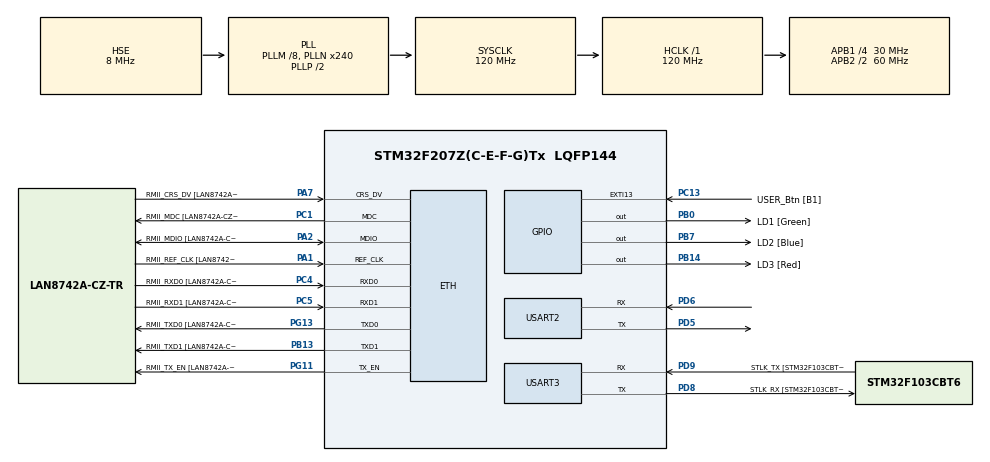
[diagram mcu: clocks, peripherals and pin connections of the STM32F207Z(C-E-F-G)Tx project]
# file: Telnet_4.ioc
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ETH.MediaInterface=ETH_MEDIA_INTERFACE_RMII
ETH.PhyAddress=0
FREERTOS.Tasks01=defaultTask,24,256,StartDefaultTask,Default,NULL,Dynamic,NULL,NULL
FREERTOS.configTOTAL_HEAP_SIZE=32000
LWIP.DEFAULT_THREAD_STACKSIZE=2048
LWIP.IP_ADDRESS=169.254.191.224
LWIP.LWIP_DHCP=0
LWIP.NETMASK_ADDRESS=255.255.255.000
LWIP.RTOS_USE_NEWLIB_REENTRANT=0
LWIP.Version=v2.0.3_Cube
Mcu.Family=STM32F2
Mcu.Name=STM32F207Z(C-E-F-G)Tx
Mcu.Package=LQFP144
NVIC.ETH_IRQn=true\:5\:0\:false\:false\:true\:true\:false\:true\:true
NVIC.PriorityGroup=NVIC_PRIORITYGROUP_4
NVIC.TIM4_IRQn=true\:15\:0\:false\:false\:true\:false\:false\:true\:true
NVIC.TimeBase=TIM4_IRQn
NVIC.TimeBaseIP=TIM4
NVIC.USART2_IRQn=true\:5\:0\:false\:false\:true\:true\:true\:true\:true
NVIC.USART3_IRQn=true\:5\:0\:false\:false\:true\:true\:true\:true\:true
PA1.GPIO_Label=RMII_REF_CLK [LAN8742A-CZ-TR_REFCLK0]
PA1.Mode=RMII
PA1.Signal=ETH_REF_CLK
PA13.GPIO_Label=TMS
PA13.Mode=Serial_Wire
PA13.Signal=SYS_JTMS-SWDIO
PA14.GPIO_Label=TCK
PA14.Mode=Serial_Wire
PA14.Signal=SYS_JTCK-SWCLK
PA2.GPIO_Label=RMII_MDIO [LAN8742A-CZ-TR_MDIO]
PA2.Mode=RMII
PA2.Signal=ETH_MDIO
PA7.GPIO_Label=RMII_CRS_DV [LAN8742A-CZ-TR_CRS_DV]
PA7.Mode=RMII
PA7.Signal=ETH_CRS_DV
PB0.GPIO_Label=LD1 [Green]
PB0.Signal=GPIO_Output
PB13.GPIO_Label=RMII_TXD1 [LAN8742A-CZ-TR_TXD1]
PB13.Mode=RMII
PB13.Signal=ETH_TXD1
PB14.GPIO_Label=LD3 [Red]
PB14.Signal=GPIO_Output
PB7.GPIO_Label=LD2 [Blue]
PB7.Signal=GPIO_Output
PC1.GPIO_Label=RMII_MDC [LAN8742A-CZ-TR_MDC]
PC1.Mode=RMII
PC1.Signal=ETH_MDC
PC13.GPIO_Label=USER_Btn [B1]
PC13.Signal=GPXTI13
PC4.GPIO_Label=RMII_RXD0 [LAN8742A-CZ-TR_RXD0]
PC4.Mode=RMII
PC4.Signal=ETH_RXD0
PC5.GPIO_Label=RMII_RXD1 [LAN8742A-CZ-TR_RXD1]
PC5.Mode=RMII
PC5.Signal=ETH_RXD1
PD5.Mode=Asynchronous
PD5.Signal=USART2_TX
PD6.Mode=Asynchronous
PD6.Signal=USART2_RX
PD8.GPIO_Label=STLK_RX [STM32F103CBT6_PA3]
PD8.Mode=Asynchronous
PD8.Signal=USART3_TX
PD9.GPIO_Label=STLK_TX [STM32F103CBT6_PA2]
PD9.Mode=Asynchronous
PD9.Signal=USART3_RX
PG11.GPIO_Label=RMII_TX_EN [LAN8742A-CZ-TR_TXEN]
PG11.Mode=RMII
PG11.Signal=ETH_TX_EN
PG13.GPIO_Label=RMII_TXD0 [LAN8742A-CZ-TR_TXD0]
PG13.Mode=RMII
PG13.Signal=ETH_TXD0
PH0-OSC_IN.GPIO_Label=MCO [STM32F103CBT6_PA8]
PH0-OSC_IN.Mode=HSE-External-Oscillator
PH0-OSC_IN.Signal=RCC_OSC_IN
PH1-OSC_OUT.Mode=HSE-External-Oscillator
PH1-OSC_OUT.Signal=RCC_OSC_OUT
ProjectManager.HeapSize=0x2000
ProjectManager.StackSize=0x4000
ProjectManager.TargetToolchain=Makefile
RCC.48MHZClocksFreq_Value=48000000
RCC.AHBFreq_Value=120000000
RCC.APB1CLKDivider=RCC_HCLK_DIV4
RCC.APB1Freq_Value=30000000
RCC.APB1TimFreq_Value=60000000
RCC.APB2CLKDivider=RCC_HCLK_DIV2
RCC.APB2Freq_Value=60000000
RCC.APB2TimFreq_Value=120000000
RCC.CortexFreq_Value=120000000
RCC.HCLKFreq_Value=120000000
RCC.HSE_VALUE=8000000
RCC.HSI_VALUE=16000000
RCC.LSE_VALUE=32768
RCC.PLLM=8
RCC.PLLMUL=RCC_PLL_MUL9
RCC.PLLN=240
RCC.PLLQ=5
RCC.PLLSourceVirtual=RCC_PLLSOURCE_HSE
RCC.PRESCALERUSB=RCC_USBCLKSOURCE_PLL_DIV1_5
RCC.SYSCLKFreq_VALUE=120000000
RCC.SYSCLKSource=RCC_SYSCLKSOURCE_PLLCLK
RCC.SYSCLKSourceVirtual=RCC_SYSCLKSOURCE_PLLCLK
RCC.USBFreq_Value=48000000
RCC.VCOOutputFreq_Value=240000000
USART2.VirtualMode=VM_ASYNC
USART3.VirtualMode=VM_ASYNC
VP_FREERTOS_VS_CMSIS_V2.Mode=CMSIS_V2
VP_LWIP_VS_Enabled.Mode=Enabled
VP_SYS_VS_tim4.Mode=TIM4
board=NUCLEO-F207ZG

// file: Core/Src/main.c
/* USER CODE BEGIN Header */
/**
  ******************************************************************************
  * @file           : main.c
  * @brief          : Main program body
  ******************************************************************************
  * @attention
  *
  * Copyright (c) 2023 STMicroelectronics.
  * All rights reserved.
  *
  * This software is licensed under terms that can be found in the LICENSE file
  * in the root directory of this software component.
  * If no LICENSE file comes with this software, it is provided AS-IS.
  *
  ******************************************************************************
  */
/* USER CODE END Header */
#include "main.h"
#include "cmsis_os.h"
#include "lwip.h"

/* USER CODE BEGIN Includes */
#include "telnet_server.h"
#include <string.h>
#include <stdio.h>
#include "api.h"
#include "mcli.h"
#include "slipif.h"

/* USER CODE END Includes */

/* USER CODE BEGIN PD */
#define SIZE_LOGIN 17
#define SIZE_COMM 4
/* USER CODE END PD */

UART_HandleTypeDef huart2;
UART_HandleTypeDef huart3;

/* Definitions for defaultTask */
osThreadId_t defaultTaskHandle;
const osThreadAttr_t defaultTask_attributes = {
  .name = "defaultTask",
  .stack_size = 256 * 4,
  .priority = (osPriority_t) osPriorityNormal,
};
/* USER CODE BEGIN PV */
uint8_t preBUFF = 0;
uint8_t preBUFF2 = 0;
extern struct netif slnetif;
/* USER CODE END PV */

void SystemClock_Config(void);
static void MX_GPIO_Init(void);
static void MX_USART3_UART_Init(void);
static void MX_USART2_UART_Init(void);
void StartDefaultTask(void *argument);

/* USER CODE BEGIN PFP */
/*---------------------------------------------------------------------------*/
/*Comand handlers*/
static int fun_cmd_main (int argc, char ** argv);
static int cmd_quit     (int argc, char ** argv);
static int cmd_help     (int argc, char ** argv);
static int cmd_mode_set (int argc, char ** argv);
static int cmd_temp     (int argc, char ** argv);
static int cmd_dist     (int argc, char ** argv);
static int cmd_cfg_set  (int argc, char ** argv);
static int cmd_cfg_get  (int argc, char ** argv);

//static err_t slipif_output(struct netif *netif, struct pbuf *p);

/*Command descriptors*/
mcli_cmd_st wo_cmd[] = {
    {
        .name = "led",
        .desc = "\"led a b\"\t a-number led(1,2,3or0-all)\tb-1(ON) or 0(OFF)",
        .cmain = fun_cmd_main
    },
    {
        .name = "help",
        .desc = "The command <help> prints other commands description.\r\n Call: help <COMMAND>",
        .cmain = cmd_help
    },
    {
        .name = "quit",
        .desc = "The <quit> halts debug console.",
        .cmain = cmd_quit
    },
    {
        .name = "mode_set",
        .desc = "The command <mode_set> selects next debug mode.\r\n Call: mode_set <N>\r\n N - mode number (2,3,4).",
        .cmain = cmd_mode_set
    },
    {
        .name = "temp",
        .desc = "The commmand <temp> measures and prints current MCU temperature.",
        .cmain = cmd_temp
    },
    {
        .name = "dist",
        .desc = "The command <dist> measures and prints distance.",
        .cmain = cmd_dist
    },
    {
        .name = "cfg_set",
        .desc = "The commmand <cfg_set> enables configuration mode.",
        .cmain = cmd_cfg_set
    },
    {
        .name = "cfg_get",
        .desc = "The command <cfg_get> prints the device configuration.",
        .cmain = cmd_cfg_get
    }
    //WORKER_CFG_CMD /*Device specific command descriptors*/
};
/*---------------------------------------------------------------------------*/
/*argv buffer*/
char * abuf[] = {0,0,0,0,0};

/**
  * @brief  Объявление для формирования структуры типа mcli_shell_st.
  *
  * @note   define MCLI_SHELL_DECL(shell, cmd, argv)
  *         mcli_shell_st  shell = {cmd,    argv,    sizeof(cmd)/sizeof(mcli_cmd_st),        sizeof(argv)/sizeof(char *)};
  *                     wo_shell = {wo_cmd, abuf,    sizeof(wo_cmd)/sizeof(mcli_cmd_st),    sizeof(abuf)/sizeof(char *)};
  *                     wo_shell = {wo_cmd, abuf,    количество записей массива wo_cmd ,    количество элементов массива abuf};
  *
  * @param  tst_shell название структуры
  * @param  wo_cmd структура из массивов типа mcli_cmd_st с искомой командой(.name), описанием и указателем на функцию-обработчик команды
  * @param  abuf указатель на массив в котором временно хранятся указатели на команду и опции после парсинга входящих данных
  *
  * @retval None
  */
MCLI_SHELL_DECL(wo_shell, wo_cmd, abuf);

/* USER CODE END PFP */

/* USER CODE BEGIN 0 */

typedef struct
{
  char name[SIZE_LOGIN];
  char pas[SIZE_LOGIN];
  char etap;
}tn_user;

tn_user tn_client = {{0,}, {0,}, 0};
tn_user tn_admin = {"admin", "admin", 0};
tn_user tn_vadim = {"vadim", "qwerty", 0};

/*
static int16_t comUserPars(uint8_t* buffCom, uint16_t lenCom){
  struct comUser prishli;
  uint16_t posSpace[8]={0,};
  uint16_t countB=0;
  uint16_t countS=0;
  //uint8_t buffPars[]=buffCom;
  char bufPars[64];
  uint8_t lenbufPars;

    for (countB=1; countB<lenCom; countB++){
      if (buffCom[countB]==' '){posSpace[countS++]=countB;}
    }
    strncpy(prishli.com1, (char*)buffCom, posSpace[0]);
    strncpy(prishli.com2, (char*)(buffCom+posSpace[0]+1), (lenCom-posSpace[0]-1));
    lenbufPars = sprintf(bufPars, "Com1:%s|Com2:%s\r\n", prishli.com1, prishli.com2);
    telnet_transmit((uint8_t*)(bufPars), lenbufPars);
    osDelay(5);
    return (int16_t)(countS);
}*/

static void (TNreceiver_callback)( uint8_t* buff, uint16_t len ){
  //В логине и пароле используются символы латиницы и цифры
  //но проверяется только первый символ
  //хорошо бы проверять все символы!
  char bufTN[64];
  uint8_t lenbufTN;
  uint8_t counti=0;
  uint8_t* buff2;
  uint8_t re_buff[len+1];

  switch (tn_client.etap){
    case 0:
      telnet_transmit((uint8_t*)("User Name> "), 11);
      tn_client.etap=1;
      break;

    case 1: //сюда заходит по имени
      if (buff[0]<0x30) {tn_client.etap=1;} //если не имя, ждём ещё раз
      else {
        memset(tn_client.name,'\0',SIZE_LOGIN); //очистка
        memcpy(tn_client.name, buff, len);
        tn_client.etap=2;
      }
      break;

    case 2: //сюда заходит по \r\n
      telnet_transmit((uint8_t*)("User pasw> "), 11);
      tn_client.etap=3;
      break;

    case 3: //заходит по паролю
      if (buff[0]<0x30) {tn_client.etap=3;} //если не пароль, ждём ещё раз
      else {
        memset(tn_client.pas,'\0', SIZE_LOGIN);
        memcpy(tn_client.pas, buff, len);
        tn_client.etap=4;
      }
      break;

    case 4: //сюда заходит по \r\n
      //сравнение введённого логина с заложеным
      if (!( (memcmp(tn_client.name, tn_admin.name,(SIZE_LOGIN-1)))||(memcmp(tn_client.pas, tn_admin.pas,(SIZE_LOGIN-1))) ) ) {
        lenbufTN = sprintf(bufTN, "\r\nHi, %s! Enter the Command...\r\n", tn_client.name);
        telnet_transmit((uint8_t*)(bufTN), lenbufTN);
        tn_client.etap=5;
      }
      else {
        lenbufTN = sprintf(bufTN, "\r\nIdi nah, %s!!! Press to Enter...\r\n", tn_client.name);
        telnet_transmit((uint8_t*)(bufTN), lenbufTN);
        tn_client.etap=0;
      }
      break;

    case 5:
      buff2 = buff;
      while (len--) {re_buff[counti++]=*(buff++);}
      re_buff[len]='\0';

      if (buff2[0]<0x30) {tn_client.etap=5;}
      else {
        //printf("                  \nResult is: %d\n",   mcli_shell_parse(&tst_shell, tst_cmd_str2, sizeof(tst_cmd_str2)));
        lenbufTN = sprintf(bufTN,"------------\r\nResult is: %d\r\n------------\r\n", mcli_shell_parse(&wo_shell, (char*)re_buff, len+1));
        telnet_transmit((uint8_t*)(bufTN), lenbufTN);
      }
      break;

    default:
      break;
  }
}

static void (TNcommand_callback) ( uint8_t* cmd,  uint16_t len ){
}

static void (TNbegin_callback) ( uint8_t* cmd,  uint16_t len ){
  char bufTN[64];
  uint8_t lenbufTN;
  /*
  uint8_t counti=0;
  // тут сброс логина ВРЕМЕННО, т.к. существует опастность что вновь подключившийся(сразу отвалится) обнулит ЛОГ�?Н
  while (counti++ != (SIZE_LOGIN-1)) {tn_client.name[counti]=0; tn_client.pas[counti]=0;}
  tn_client.etap=0;
  */
  lenbufTN = sprintf(bufTN, "Hi user! Press to Enter...\r\n");
  telnet_transmit((uint8_t*)(bufTN), lenbufTN);
}

static void (TNend_callback) ( uint8_t* cmd,  uint16_t len ){
  //char bufTN[64];
  //uint8_t lenbufTN;
  uint8_t counti=0;
  // тут сброс логина
  while (counti++ != (SIZE_LOGIN-1)) {tn_client.name[counti]=0; tn_client.pas[counti]=0;}
  tn_client.etap=0;
  //lenbufTN = sprintf(bufTN, "Poka!\r\n");
  //telnet_transmit((uint8_t*)(bufTN), lenbufTN);
}

telnetCallBacksSt funcCB = {
  TNreceiver_callback,
  TNcommand_callback,
  TNbegin_callback,
  TNend_callback
};

/*===========================================================================*/
/*Command handlers*/
static int fun_cmd_main(int argc, char ** argv){
    char bufPars[64];
    uint8_t lenbufPars;

    if (*argv[1]=='1') {HAL_GPIO_WritePin(LD3_GPIO_Port, LD1_Pin, (GPIO_PinState)(*argv[2] - 0x30) );}
    if (*argv[1]=='2') {HAL_GPIO_WritePin(LD3_GPIO_Port, LD2_Pin, (GPIO_PinState)(*argv[2] - 0x30) );}
    if (*argv[1]=='3') {HAL_GPIO_WritePin(LD3_GPIO_Port, LD3_Pin, (GPIO_PinState)(*argv[2] - 0x30) );}
    if (*argv[1]=='0') {
      HAL_GPIO_WritePin(LD3_GPIO_Port, LD1_Pin, (GPIO_PinState)(*argv[2] - 0x30) );
      HAL_GPIO_WritePin(LD3_GPIO_Port, LD2_Pin, (GPIO_PinState)(*argv[2] - 0x30) );
      HAL_GPIO_WritePin(LD3_GPIO_Port, LD3_Pin, (GPIO_PinState)(*argv[2] - 0x30) );
      }
    while (argc--){
        lenbufPars = sprintf(bufPars,"%s\r\n", *argv++);
        telnet_transmit((uint8_t*)(bufPars), lenbufPars);
    }
    return 0;
}
/*Quit the console*/
static int cmd_quit(int argc, char ** argv){
    char bufPars[64];
    uint8_t lenbufPars;
    uint8_t counti=0;

    lenbufPars = sprintf(bufPars,"Halting the debug console!\r\n");
    telnet_transmit((uint8_t*)(bufPars), lenbufPars);

    while (counti++ != (SIZE_LOGIN-1)) {tn_client.name[counti]=0; tn_client.pas[counti]=0;}// тут сброс логина
    tn_client.etap=0;

    return 0;
}
/*Help*/
static int cmd_help(int argc, char ** argv){
    int i;
    char bufPars[128];
    uint8_t lenbufPars;

    if (2 != argc){   //команда из одной литерации, я так понмаю... можно навероно так '>'
        /*Default behaviour*/
        //lenbufPars = sprintf(bufPars,"%s\r\n", wo_shell.cmd[0].desc);
        //telnet_transmit((uint8_t*)(bufPars), lenbufPars);
        lenbufPars = sprintf(bufPars,"=====Command list:\r\n");
        telnet_transmit((uint8_t*)(bufPars), lenbufPars);
        for (i = 0; i < wo_shell.csz; i++){
            lenbufPars = sprintf(bufPars,"%s\r\n", wo_shell.cmd[i].name);
            telnet_transmit((uint8_t*)(bufPars), lenbufPars);
        }
        lenbufPars = sprintf(bufPars,"=====Call description: help <COMMAND>:\r\n");
        telnet_transmit((uint8_t*)(bufPars), lenbufPars);
        return 0;
    }

    for (i = 0; i < wo_shell.csz; i++){
        const mcli_cmd_st * cmd;

        cmd = wo_shell.cmd + i;
        if (0 == mcli_strcmp(
                    cmd->name,
                    wo_shell.argv[1],
                    //mcli_strlen(wo_shell.argv[1], sizeof(wo_data_buf) - (wo_shell.argv[1] - wo_data_buf)) //
                    strlen(wo_shell.argv[1])
                ))
        {
            /*Found the command, will print help string*/
            lenbufPars = sprintf(bufPars,"=%s\r\n", cmd->desc);
            telnet_transmit((uint8_t*)(bufPars), lenbufPars);
            return 0;
        }
    }
    lenbufPars = sprintf(bufPars,"Help: error: command not found!\r\n");
    telnet_transmit((uint8_t*)(bufPars), lenbufPars);
    return 0;
}
int cmd_mode_set (int argc, char ** argv){return 0;}
int cmd_temp     (int argc, char ** argv){return 0;}
int cmd_dist     (int argc, char ** argv){return 0;}
int cmd_cfg_set  (int argc, char ** argv){return 0;}
int cmd_cfg_get  (int argc, char ** argv){return 0;}

//uint32_t errorUartSR = 0;
//#define FLAG_ERROR_QUEUE        (1 << 16)
//extern QueueHandle_t queueUART = NULL; ///очередь приемного буфера QueueHandle_t - тип - дескриптор очереди

// /// @brief Калбэк по завершению приёма
// void HAL_UART_RxCpltCallback(UART_HandleTypeDef *huart){
//   if (huart==&huart3){
//     uint8_t data = (uint8_t)preBUFF; //считываем
//     HAL_UART_Receive_IT(&huart3, &preBUFF, 1); //запуск следующего приёма
//     if (queueUART != NULL) //если у меня есть очередь
//       {
//         /// тут почемуто в аргумент Таймаут вставлен pdTRUE (логическая 1 или просто 1)
//         /// используется специальная ф-я SendFromISR - для работы в прерывании
//         if(xQueueSendFromISR(queueUART, (void *)(&data), pdTRUE) != pdTRUE)    //если есть очередь то кладу информацию в нее
//           {
//             //почему то не получилось положить в очередь
//             errorUartSR |= FLAG_ERROR_QUEUE;
//           }
//       }
//     else {;} /// если нет очереди
//   }
// }

/* USER CODE END 0 */

int main(void)
{

  /* MCU Configuration--------------------------------------------------------*/

  /* Reset of all peripherals, Initializes the Flash interface and the Systick. */
  HAL_Init();

  /* Configure the system clock */
  SystemClock_Config();

  /* Initialize all configured peripherals */
  MX_GPIO_Init();
  MX_USART3_UART_Init();
  MX_USART2_UART_Init();
  /* USER CODE BEGIN 2 */
  HAL_UART_Receive_IT(&huart3, &preBUFF, 1);
  HAL_UART_Receive_IT(&huart2, &preBUFF2, 1);
  /* USER CODE END 2 */

  /* Init scheduler */
  osKernelInitialize();

  /* Create the thread(s) */
  /* creation of defaultTask */
  defaultTaskHandle = osThreadNew(StartDefaultTask, NULL, &defaultTask_attributes);

  /* Start scheduler */
  osKernelStart();

  /* We should never get here as control is now taken by the scheduler */
  /* Infinite loop */
  while (1)
  {

  }
}

void SystemClock_Config(void)
{
  RCC_OscInitTypeDef RCC_OscInitStruct = {0};
  RCC_ClkInitTypeDef RCC_ClkInitStruct = {0};

  /** Initializes the RCC Oscillators according to the specified parameters
  * in the RCC_OscInitTypeDef structure.
  */
  RCC_OscInitStruct.OscillatorType = RCC_OSCILLATORTYPE_HSE;
  RCC_OscInitStruct.HSEState = RCC_HSE_ON;
  RCC_OscInitStruct.PLL.PLLState = RCC_PLL_ON;
  RCC_OscInitStruct.PLL.PLLSource = RCC_PLLSOURCE_HSE;
  RCC_OscInitStruct.PLL.PLLM = 8;
  RCC_OscInitStruct.PLL.PLLN = 240;
  RCC_OscInitStruct.PLL.PLLP = RCC_PLLP_DIV2;
  RCC_OscInitStruct.PLL.PLLQ = 5;
  if (HAL_RCC_OscConfig(&RCC_OscInitStruct) != HAL_OK)
  {
    Error_Handler();
  }

  /** Initializes the CPU, AHB and APB buses clocks
  */
  RCC_ClkInitStruct.ClockType = RCC_CLOCKTYPE_HCLK|RCC_CLOCKTYPE_SYSCLK
                              |RCC_CLOCKTYPE_PCLK1|RCC_CLOCKTYPE_PCLK2;
  RCC_ClkInitStruct.SYSCLKSource = RCC_SYSCLKSOURCE_PLLCLK;
  RCC_ClkInitStruct.AHBCLKDivider = RCC_SYSCLK_DIV1;
  RCC_ClkInitStruct.APB1CLKDivider = RCC_HCLK_DIV4;
  RCC_ClkInitStruct.APB2CLKDivider = RCC_HCLK_DIV2;

  if (HAL_RCC_ClockConfig(&RCC_ClkInitStruct, FLASH_LATENCY_3) != HAL_OK)
  {
    Error_Handler();
  }
}

static void MX_USART2_UART_Init(void)
{

  huart2.Instance = USART2;
  huart2.Init.BaudRate = 115200;
  huart2.Init.WordLength = UART_WORDLENGTH_8B;
  huart2.Init.StopBits = UART_STOPBITS_1;
  huart2.Init.Parity = UART_PARITY_NONE;
  huart2.Init.Mode = UART_MODE_TX_RX;
  huart2.Init.HwFlowCtl = UART_HWCONTROL_NONE;
  huart2.Init.OverSampling = UART_OVERSAMPLING_16;
  if (HAL_UART_Init(&huart2) != HAL_OK)
  {
    Error_Handler();
  }

}

static void MX_USART3_UART_Init(void)
{

  huart3.Instance = USART3;
  huart3.Init.BaudRate = 115200;
  huart3.Init.WordLength = UART_WORDLENGTH_8B;
  huart3.Init.StopBits = UART_STOPBITS_1;
  huart3.Init.Parity = UART_PARITY_NONE;
  huart3.Init.Mode = UART_MODE_TX_RX;
  huart3.Init.HwFlowCtl = UART_HWCONTROL_NONE;
  huart3.Init.OverSampling = UART_OVERSAMPLING_16;
  if (HAL_UART_Init(&huart3) != HAL_OK)
  {
    Error_Handler();
  }

}

static void MX_GPIO_Init(void)
{
  GPIO_InitTypeDef GPIO_InitStruct = {0};

  /* GPIO Ports Clock Enable */
  __HAL_RCC_GPIOC_CLK_ENABLE();
  __HAL_RCC_GPIOH_CLK_ENABLE();
  __HAL_RCC_GPIOA_CLK_ENABLE();
  __HAL_RCC_GPIOB_CLK_ENABLE();
  __HAL_RCC_GPIOD_CLK_ENABLE();
  __HAL_RCC_GPIOG_CLK_ENABLE();

  /*Configure GPIO pin Output Level */
  HAL_GPIO_WritePin(GPIOB, LD1_Pin|LD3_Pin|LD2_Pin, GPIO_PIN_RESET);

  /*Configure GPIO pin : USER_Btn_Pin */
  GPIO_InitStruct.Pin = USER_Btn_Pin;
  GPIO_InitStruct.Mode = GPIO_MODE_IT_RISING;
  GPIO_InitStruct.Pull = GPIO_NOPULL;
  HAL_GPIO_Init(USER_Btn_GPIO_Port, &GPIO_InitStruct);

  /*Configure GPIO pins : LD1_Pin LD3_Pin LD2_Pin */
  GPIO_InitStruct.Pin = LD1_Pin|LD3_Pin|LD2_Pin;
  GPIO_InitStruct.Mode = GPIO_MODE_OUTPUT_PP;
  GPIO_InitStruct.Pull = GPIO_NOPULL;
  GPIO_InitStruct.Speed = GPIO_SPEED_FREQ_LOW;
  HAL_GPIO_Init(GPIOB, &GPIO_InitStruct);

}

/* USER CODE BEGIN 4 */
extern struct netif gnetif;
struct netif slnetif;

/* USER CODE END 4 */

void StartDefaultTask(void *argument)
{
  /* init code for LWIP */
  MX_LWIP_Init();
  /* USER CODE BEGIN 5 */
  //char buf_uart [64];

  //HAL_UART_Transmit(&huart3, (uint8_t*)"LWIP comlite!\r\n", 15, 10);
  //sprintf(buf_uart, "My ip: %s\r\n", ip4addr_ntoa(&gnetif.ip_addr));
  //HAL_UART_Transmit(&huart3, (uint8_t*)buf_uart, strlen(buf_uart), 10);

  telnet_create(23, &funcCB);
  //slnetif = gnetif;
  //slipif_init(&slnetif);
  HAL_GPIO_WritePin(LD2_GPIO_Port, LD2_Pin, GPIO_PIN_SET);

  /* Infinite loop */
  for(;;)
  {
    //slipif_poll(&gnetif);
    //gnetif->input(); - завершённый пакет
    //slipif_process_rxqueue(&gnetif);
    //osDelay(1);
  }
  /* USER CODE END 5 */
}

void HAL_TIM_PeriodElapsedCallback(TIM_HandleTypeDef *htim)
{
  if (htim->Instance == TIM4) {
    HAL_IncTick();
  }
}

void Error_Handler(void)
{
  __disable_irq();
  while (1)
  {
  }
}
